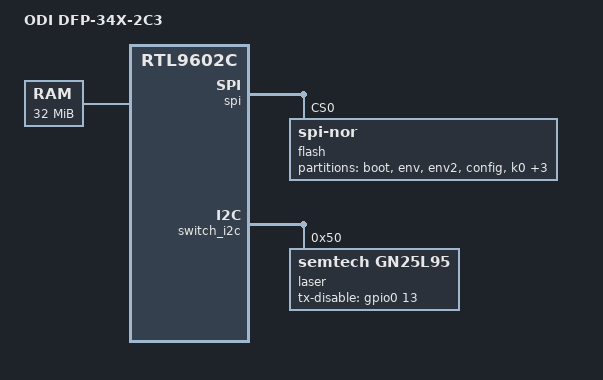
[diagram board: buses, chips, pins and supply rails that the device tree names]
// SPDX-License-Identifier: GPL-2.0-only
/*
 * ODI DFP-34X-2C3: a GPON ONU in an SFP module, built on the Realtek
 * RTL9602C with 32 MiB of DRAM and 8 MiB of SPI NOR flash. Its only
 * electrical data interface is the SFP edge connector, wired to the switch's
 * SerDes lane (port 0). The GPON MAC drives a separate laser driver IC,
 * which the SoC also reaches over I2C.
 */

/dts-v1/;

#include "rtl9602c.dtsi"

/ {
	model = "ODI DFP-34X-2C3";
	compatible = "odi,dfp-34x-2c3", "realtek,rtl9602c";

	/* The platform code adds the same range to memblock itself. */
	memory@0 {
		device_type = "memory";
		reg = <0x00000000 0x02000000>;
	};

	/*
	 * The PON MAC's packet-buffer areas in DRAM, one per direction. The
	 * PON MAC reads and writes them by DMA and the CPU never touches them,
	 * so no-map keeps them out of the kernel's memory. Each is 1 MiB and
	 * 4 KiB, of which the driver programs the first 1 MiB; whether the PON
	 * MAC touches the 4 KiB beyond is not verified, so they are kept
	 * reserved too. The upstream area ends at the top of DRAM and the
	 * downstream area 8 MiB lower, in another quarter of DRAM; whether
	 * that placement matters is not verified either.
	 */
	reserved-memory {
		#address-cells = <1>;
		#size-cells = <1>;
		ranges;

		pbo_ds: pbo@16ff000 {
			reg = <0x016ff000 0x101000>;
			no-map;
		};

		pbo_us: pbo@1eff000 {
			reg = <0x01eff000 0x101000>;
			no-map;
		};
	};

	chosen {
		/*
		 * Taken to have no effect, which is not verified: no driver
		 * binds uart0, no earlycon argument is passed, and the boot
		 * loader's console= argument selects the console.
		 */
		stdout-path = &uart0;

		/*
		 * rtl9602c_defconfig sets MIPS_CMDLINE_DTB_EXTEND: the kernel
		 * command line is these arguments, then the boot loader's.
		 * panic=10 reboots the board 10 s after a panic.
		 */
		bootargs = "panic=10";
	};
};

/*
 * The 8 MiB SPI NOR flash, through the SoC's SPI controller, which can
 * erase and program it. The SoC's read-only window onto the same chip at
 * 0x14000000 is left unused: the two must not drive the chip at once.
 */
&spi {
	status = "okay";

	flash@0 {
		compatible = "jedec,spi-nor";
		reg = <0>;

		/*
		 * The boot loader's own layout, which covers the whole chip,
		 * except that both banks are split as this system needs: a
		 * kernel takes 1856 KiB and a root filesystem 1984 KiB, where
		 * the shipped firmware split the same 3840 KiB as 1328 KiB and
		 * 2512 KiB. The boot loader keeps naming the shipped split in
		 * its environment, which it rebuilds at every start, and needs
		 * nothing of this one: it starts the kernel at the start of k0
		 * or k1, the same in both, and root=31:5 or root=31:7 names
		 * r0 or r1 by number.
		 *
		 * The partitions register in this order as mtd0 to mtd7,
		 * block devices 31:0 to 31:7, and the boot loader names the
		 * root filesystem by number (root=31:5 for bank 0, root=31:7
		 * for bank 1): the order is part of the boot contract.
		 *
		 * The boot loader is read-only. Its environment, where this
		 * system says which bank to start, the configuration store and
		 * both banks are writable: an update goes into the bank the
		 * system did not start from, which the updater, onu-update,
		 * tells by root= and never writes. The chip erases in 4 KiB
		 * sectors, and every partition starts and ends on one.
		 */
		partitions {
			compatible = "fixed-partitions";
			#address-cells = <1>;
			#size-cells = <1>;

			/* The boot loader, run from the reset vector */
			partition@0 {
				label = "boot";
				reg = <0x000000 0x040000>;
				read-only;
			};

			/* The boot loader's environment and its copy */
			partition@40000 {
				label = "env";
				reg = <0x040000 0x002000>;
			};

			partition@42000 {
				label = "env2";
				reg = <0x042000 0x002000>;
			};

			/*
			 * The configuration store: what the board keeps across
			 * updates of its system.
			 */
			partition@44000 {
				label = "config";
				reg = <0x044000 0x03c000>;
			};

			/* Bank 0: a kernel and its root filesystem */
			partition@80000 {
				label = "k0";
				reg = <0x080000 0x1d0000>;
			};

			partition@250000 {
				label = "r0";
				reg = <0x250000 0x1f0000>;
			};

			/* Bank 1: the same, the other system */
			partition@440000 {
				label = "k1";
				reg = <0x440000 0x1d0000>;
			};

			partition@610000 {
				label = "r1";
				reg = <0x610000 0x1f0000>;
			};
		};
	};
};

/*
 * The switch finds the packet-buffer areas by name and needs each to be at
 * least 1 MiB. Without both of them, or without realtek,sysctl, it is meant
 * to work as a switch with the PON MAC off; not verified.
 */
&switch {
	memory-region = <&pbo_us>, <&pbo_ds>;
	memory-region-names = "pbo-us", "pbo-ds";

	/* The GPON MAC drives the optics' laser driver. */
	realtek,pon-optics = <&laser>;
};

/*
 * The optics' laser driver, which serves the SFF-8472 management interface,
 * A0h at 0x50 and A2h at 0x51. Its hard transmit-disable input is GPIO 13,
 * high turning the light off (measured); its driver requests it asserted and
 * the GPON MAC releases it only while the PON link needs the laser.
 */
&switch_i2c {
	laser: laser-driver@50 {
		compatible = "semtech,gn25l95";
		reg = <0x50>;
		tx-disable-gpios = <&gpio0 13 GPIO_ACTIVE_HIGH>;
	};
};
